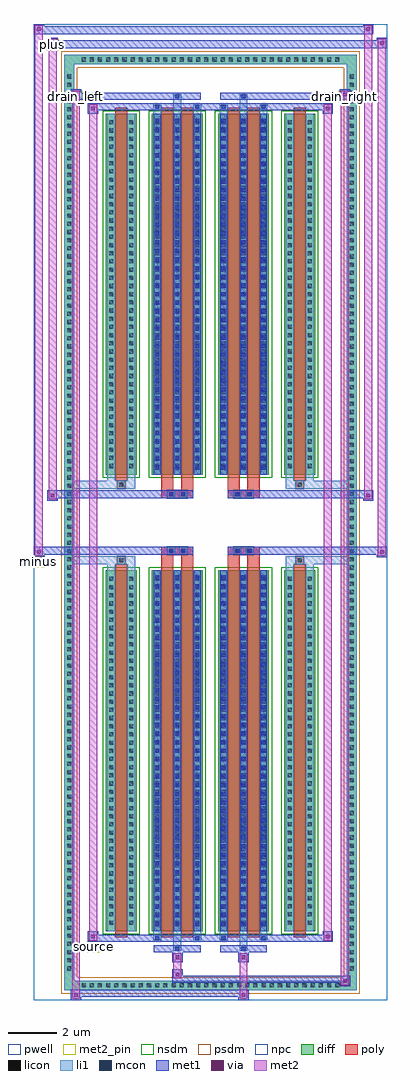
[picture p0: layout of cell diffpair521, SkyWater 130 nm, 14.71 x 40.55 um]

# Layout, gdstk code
import gdstk
lib = gdstk.Library(unit=1e-6, precision=5e-09)
def R(c, l, rs):  # rectangles x0, y0, x1, y1
    for r in rs: c.add(gdstk.rectangle(r[:2], r[2:], *l))
def A(c, l, x, y, w, h, nx, ny, dx, dy):  # array of equal rectangles
    R(c, l, [(x+i*dx, y+j*dy, x+i*dx+w, y+j*dy+h) for i in range(nx) for j in range(ny)])
def P(c, l, *ps):  # polygons
    for p in ps: c.add(gdstk.Polygon(p, *l))
pwell = (64, 44)
diff = (65, 20)
poly = (66, 20)
licon = (66, 44)
li1 = (67, 20)
mcon = (67, 44)
met1 = (68, 20)
via = (68, 44)
met2_pin = (69, 16)
met2 = (69, 20)
nsdm = (93, 44)
psdm = (94, 20)
npc = (95, 20)

diffpair521 = lib.new_cell('diffpair521')
R(diffpair521, pwell, [(-7.34,-19.84,7.34,20.71), (-4.66,-18.03,-0.01,-0.805), (0.01,-18.03,4.66,-0.805), (-4.66,0.805,-0.01,18.03), (0.01,0.805,4.66,18.03)])
A(diffpair521, diff, -5.475, -19.44, 0.41, 0.41, 32, 2, 0.34, 38.47)
A(diffpair521, diff, -6.07, -18.735, 0.41, 0.41, 1, 110, 0, 0.34)
A(diffpair521, diff, 5.66, -18.735, 0.41, 0.41, 1, 110, 0, 0.34)
R(diffpair521, diff, [(-5.475,-19.44,5.475,-19.03), (-6.07,-18.735,-5.66,18.735), (5.66,-18.735,6.07,18.735), (-4.35,-16.985,-3.07,-1.985), (-2.43,-16.985,-0.32,-1.985), (0.32,-16.985,2.43,-1.985), (3.07,-16.985,4.35,-1.985), (-4.35,1.985,-3.07,16.985), (-2.43,1.985,-0.32,16.985), (0.32,1.985,2.43,16.985), (3.07,1.985,4.35,16.985), (-5.475,19.03,5.475,19.44)])
P(diffpair521, diff, [(6.07,19.44),(-6.07,19.44),(-6.07,-19.03),(-5.66,-19.03),(-5.66,19.03),(5.66,19.03),(5.66,-19.03),(-5.66,-19.03),(-6.07,-19.03),(-6.07,-19.44),(6.07,-19.44)])
R(diffpair521, poly, [(-3.96,-17.235,-3.46,-1.735), (-2.04,-17.235,-1.54,-1.735), (-1.21,-17.235,-0.71,-1.735), (0.71,-17.235,1.21,-1.735), (1.54,-17.235,2.04,-1.735), (3.46,-17.235,3.96,-1.735), (-3.875,-1.735,-3.545,-1.405), (-3.875,-1.735,-3.545,-1.405), (-2.04,-1.735,-1.54,-1.335), (-1.21,-1.735,-0.71,-1.335), (0.71,-1.735,1.21,-1.335), (1.54,-1.735,2.04,-1.335), (3.545,-1.735,3.875,-1.405), (3.545,-1.735,3.875,-1.405), (-2.04,-1.335,-0.71,-1.005), (-1.79,-1.335,-1.46,-1.005), (-1.29,-1.335,-0.96,-1.005), (0.71,-1.335,2.04,-1.005), (0.96,-1.335,1.29,-1.005), (1.46,-1.335,1.79,-1.005), (-2.04,1.005,-0.71,1.335), (-1.79,1.005,-1.46,1.335), (-1.29,1.005,-0.96,1.335), (0.71,1.005,2.04,1.335), (0.96,1.005,1.29,1.335), (1.46,1.005,1.79,1.335), (-2.04,1.335,-1.54,1.735), (-1.21,1.335,-0.71,1.735), (0.71,1.335,1.21,1.735), (1.54,1.335,2.04,1.735), (-3.875,1.405,-3.545,1.735), (-3.875,1.405,-3.545,1.735), (3.545,1.405,3.875,1.735), (3.545,1.405,3.875,1.735), (-3.96,1.735,-3.46,17.235), (-2.04,1.735,-1.54,17.235), (-1.21,1.735,-0.71,17.235), (0.71,1.735,1.21,17.235), (1.54,1.735,2.04,17.235), (3.46,1.735,3.96,17.235)])
A(diffpair521, licon, -5.355, -19.32, 0.17, 0.17, 32, 2, 0.34, 38.47)
A(diffpair521, licon, -5.95, -18.615, 0.17, 0.17, 1, 110, 0, 0.34)
A(diffpair521, licon, 5.78, -18.615, 0.17, 0.17, 1, 110, 0, 0.34)
A(diffpair521, licon, -4.21, -16.71, 0.17, 0.17, 1, 43, 0, 0.34)
A(diffpair521, licon, -3.38, -16.71, 0.17, 0.17, 1, 43, 0, 0.34)
A(diffpair521, licon, -2.29, -16.71, 0.17, 0.17, 3, 43, 0.83, 0.34)
A(diffpair521, licon, 0.46, -16.71, 0.17, 0.17, 3, 43, 0.83, 0.34)
A(diffpair521, licon, 3.21, -16.71, 0.17, 0.17, 1, 43, 0, 0.34)
A(diffpair521, licon, 4.04, -16.71, 0.17, 0.17, 1, 43, 0, 0.34)
A(diffpair521, licon, -4.21, 2.26, 0.17, 0.17, 1, 43, 0, 0.34)
A(diffpair521, licon, -3.38, 2.26, 0.17, 0.17, 1, 43, 0, 0.34)
A(diffpair521, licon, -2.29, 2.26, 0.17, 0.17, 3, 43, 0.83, 0.34)
A(diffpair521, licon, 0.46, 2.26, 0.17, 0.17, 3, 43, 0.83, 0.34)
A(diffpair521, licon, 3.21, 2.26, 0.17, 0.17, 1, 43, 0, 0.34)
A(diffpair521, licon, 4.04, 2.26, 0.17, 0.17, 1, 43, 0, 0.34)
R(diffpair521, licon, [(-3.795,-1.655,-3.625,-1.485), (3.625,-1.655,3.795,-1.485), (-1.71,-1.255,-1.54,-1.085), (-1.21,-1.255,-1.04,-1.085), (1.04,-1.255,1.21,-1.085), (1.54,-1.255,1.71,-1.085), (-1.71,1.085,-1.54,1.255), (-1.21,1.085,-1.04,1.255), (1.04,1.085,1.21,1.255), (1.54,1.085,1.71,1.255), (-3.795,1.485,-3.625,1.655), (3.625,1.485,3.795,1.655)])
A(diffpair521, li1, -5.435, -19.4, 0.33, 0.33, 32, 2, 0.34, 38.47)
A(diffpair521, li1, -6.03, -18.695, 0.33, 0.33, 1, 110, 0, 0.34)
A(diffpair521, li1, 5.7, -18.695, 0.33, 0.33, 1, 110, 0, 0.34)
A(diffpair521, li1, -2.37, -16.985, 0.33, 15, 3, 2, 0.83, 18.97)
A(diffpair521, li1, 0.38, -16.985, 0.33, 15, 3, 2, 0.83, 18.97)
A(diffpair521, li1, -4.29, -16.79, 0.33, 0.33, 1, 43, 0, 0.34)
A(diffpair521, li1, -3.46, -16.79, 0.33, 0.33, 1, 43, 0, 0.34)
A(diffpair521, li1, -2.37, -16.79, 0.33, 0.33, 3, 43, 0.83, 0.34)
A(diffpair521, li1, 0.38, -16.79, 0.33, 0.33, 3, 43, 0.83, 0.34)
A(diffpair521, li1, 3.13, -16.79, 0.33, 0.33, 1, 43, 0, 0.34)
A(diffpair521, li1, 3.96, -16.79, 0.33, 0.33, 1, 43, 0, 0.34)
A(diffpair521, li1, -2.29, -16.77, 0.17, 0.17, 3, 41, 0.83, 0.36)
A(diffpair521, li1, -2.29, -16.77, 0.17, 14.57, 3, 2, 0.83, 18.97)
A(diffpair521, li1, 0.46, -16.77, 0.17, 0.17, 3, 41, 0.83, 0.36)
A(diffpair521, li1, 0.46, -16.77, 0.17, 14.57, 3, 2, 0.83, 18.97)
A(diffpair521, li1, -4.29, 2.18, 0.33, 0.33, 1, 43, 0, 0.34)
A(diffpair521, li1, -3.46, 2.18, 0.33, 0.33, 1, 43, 0, 0.34)
A(diffpair521, li1, -2.37, 2.18, 0.33, 0.33, 3, 43, 0.83, 0.34)
A(diffpair521, li1, 0.38, 2.18, 0.33, 0.33, 3, 43, 0.83, 0.34)
A(diffpair521, li1, 3.13, 2.18, 0.33, 0.33, 1, 43, 0, 0.34)
A(diffpair521, li1, 3.96, 2.18, 0.33, 0.33, 1, 43, 0, 0.34)
A(diffpair521, li1, -2.29, 2.2, 0.17, 0.17, 3, 41, 0.83, 0.36)
A(diffpair521, li1, 0.46, 2.2, 0.17, 0.17, 3, 41, 0.83, 0.36)
R(diffpair521, li1, [(-6.07,-19.44,-5.66,-19.03), (-6.07,-19.44,-5.66,-19.03), (-5.66,-19.44,5.66,-19.03), (5.66,-19.44,6.07,-19.03), (5.66,-19.44,6.07,-19.03), (-6.07,-19.03,-5.66,19.03), (5.66,-19.03,6.07,19.03), (-1.54,-17.79,-1.21,-16.985), (-1.46,-17.79,-1.29,-17.62), (1.21,-17.79,1.54,-16.985), (1.29,-17.79,1.46,-17.62), (-2.37,-17.36,-2.04,-16.985), (-2.29,-17.36,-2.12,-17.19), (-0.71,-17.36,-0.38,-16.985), (-0.63,-17.36,-0.46,-17.19), (0.38,-17.36,0.71,-16.985), (0.46,-17.36,0.63,-17.19), (2.04,-17.36,2.37,-16.985), (2.12,-17.36,2.29,-17.19), (-4.29,-16.985,-3.96,-1.985), (-3.46,-16.985,-3.13,-1.985), (3.13,-16.985,3.46,-1.985), (3.96,-16.985,4.29,-1.985), (-4.29,-1.985,-3.96,-1.405), (-3.46,-1.985,-3.13,-1.405), (3.13,-1.985,3.46,-1.405), (3.96,-1.985,4.29,-1.405), (-6.07,-1.735,-3.875,-1.405), (-4.29,-1.735,-3.875,-1.405), (-3.875,-1.735,-3.545,-1.405), (-3.545,-1.735,-3.13,-1.405), (3.13,-1.735,3.545,-1.405), (3.545,-1.735,3.875,-1.405), (3.545,-1.735,6.07,-1.405), (3.875,-1.735,4.29,-1.405), (-1.79,-1.335,-1.46,-1.005), (-1.29,-1.335,-0.96,-1.005), (0.96,-1.335,1.29,-1.005), (1.46,-1.335,1.79,-1.005), (-1.79,1.005,-1.46,1.335), (-1.29,1.005,-0.96,1.335), (0.96,1.005,1.29,1.335), (1.46,1.005,1.79,1.335), (-6.07,1.405,-3.875,1.735), (-4.29,1.405,-3.875,1.735), (-4.29,1.405,-3.96,1.985), (-3.875,1.405,-3.545,1.735), (-3.545,1.405,-3.13,1.735), (-3.46,1.405,-3.13,1.985), (3.13,1.405,3.545,1.735), (3.13,1.405,3.46,1.985), (3.545,1.405,3.875,1.735), (3.545,1.405,6.07,1.735), (3.875,1.405,4.29,1.735), (3.96,1.405,4.29,1.985), (-4.29,1.985,-3.96,16.985), (-3.46,1.985,-3.13,16.985), (3.13,1.985,3.46,16.985), (3.96,1.985,4.29,16.985), (-2.37,16.985,-2.04,17.36), (-1.54,16.985,-1.21,17.79), (-0.71,16.985,-0.38,17.36), (0.38,16.985,0.71,17.36), (1.21,16.985,1.54,17.79), (2.04,16.985,2.37,17.36), (-2.29,17.19,-2.12,17.36), (-0.63,17.19,-0.46,17.36), (0.46,17.19,0.63,17.36), (2.12,17.19,2.29,17.36), (-1.46,17.62,-1.29,17.79), (1.29,17.62,1.46,17.79), (-6.07,19.03,-5.66,19.44), (-6.07,19.03,-5.66,19.44), (-5.66,19.03,5.66,19.44), (5.66,19.03,6.07,19.44), (5.66,19.03,6.07,19.44)])
A(diffpair521, mcon, -2.29, -16.77, 0.17, 0.17, 3, 41, 0.83, 0.36)
A(diffpair521, mcon, 0.46, -16.77, 0.17, 0.17, 3, 41, 0.83, 0.36)
A(diffpair521, mcon, -2.29, 2.2, 0.17, 0.17, 3, 41, 0.83, 0.36)
A(diffpair521, mcon, 0.46, 2.2, 0.17, 0.17, 3, 41, 0.83, 0.36)
R(diffpair521, mcon, [(-1.46,-17.79,-1.29,-17.62), (1.29,-17.79,1.46,-17.62), (-2.29,-17.36,-2.12,-17.19), (-0.63,-17.36,-0.46,-17.19), (0.46,-17.36,0.63,-17.19), (2.12,-17.36,2.29,-17.19), (-1.71,-1.255,-1.54,-1.085), (-1.21,-1.255,-1.04,-1.085), (1.04,-1.255,1.21,-1.085), (1.54,-1.255,1.71,-1.085), (-1.71,1.085,-1.54,1.255), (-1.21,1.085,-1.04,1.255), (1.04,1.085,1.21,1.255), (1.54,1.085,1.71,1.255), (-2.29,17.19,-2.12,17.36), (-0.63,17.19,-0.46,17.36), (0.46,17.19,0.63,17.36), (2.12,17.19,2.29,17.36), (-1.46,17.62,-1.29,17.79), (1.29,17.62,1.46,17.79)])
A(diffpair521, met1, -2.35, -16.985, 0.29, 15, 3, 2, 0.83, 18.97)
A(diffpair521, met1, 0.4, -16.985, 0.29, 15, 3, 2, 0.83, 18.97)
A(diffpair521, met1, -2.35, -16.83, 0.29, 0.29, 3, 41, 0.83, 0.36)
A(diffpair521, met1, 0.4, -16.83, 0.29, 0.29, 3, 41, 0.83, 0.36)
A(diffpair521, met1, -2.35, 2.14, 0.29, 0.29, 3, 41, 0.83, 0.36)
A(diffpair521, met1, 0.4, 2.14, 0.29, 0.29, 3, 41, 0.83, 0.36)
R(diffpair521, met1, [(-5.8,-19.84,-5.37,-19.41), (1.16,-19.84,1.59,-19.41), (-5.8,-19.7,1.59,-19.41), (5.37,-19.27,5.8,-18.84), (-1.59,-19.13,5.8,-18.84), (-1.59,-18.99,-1.16,-18.56), (-1.59,-18.28,-1.16,-17.85), (1.16,-18.28,1.59,-17.85), (-2.35,-17.85,-0.4,-17.56), (-1.52,-17.85,-1.23,-17.56), (0.4,-17.85,2.35,-17.56), (1.23,-17.85,1.52,-17.56), (-5.09,-17.42,-4.66,-16.99), (-5.09,-17.42,-2.35,-17.13), (-2.35,-17.42,-2.06,-17.13), (-2.35,-17.42,-0.4,-17.13), (-0.69,-17.42,-0.4,-17.13), (-0.4,-17.42,0.4,-17.13), (0.4,-17.42,0.69,-17.13), (0.4,-17.42,2.35,-17.13), (2.06,-17.42,2.35,-17.13), (2.35,-17.42,5.09,-17.13), (4.66,-17.42,5.09,-16.99), (-7.34,-1.435,-6.91,-1.005), (6.91,-1.435,7.34,-1.005), (-7.34,-1.335,-0.71,-1.005), (-2.04,-1.335,-0.71,-1.005), (0.71,-1.335,2.04,-1.005), (0.71,-1.335,7.34,-1.005), (-1.77,-1.315,-1.48,-1.025), (-1.27,-1.315,-0.98,-1.025), (0.98,-1.315,1.27,-1.025), (1.48,-1.315,1.77,-1.025), (-6.77,0.905,-6.34,1.335), (6.34,0.905,6.77,1.335), (-6.77,1.005,-2.04,1.335), (-2.04,1.005,-0.71,1.335), (0.71,1.005,2.04,1.335), (2.04,1.005,6.77,1.335), (-1.77,1.025,-1.48,1.315), (-1.27,1.025,-0.98,1.315), (0.98,1.025,1.27,1.315), (1.48,1.025,1.77,1.315), (-5.09,16.99,-4.66,17.42), (4.66,16.99,5.09,17.42), (-5.09,17.13,-2.35,17.42), (-2.35,17.13,-2.06,17.42), (-2.35,17.13,-0.4,17.42), (-0.69,17.13,-0.4,17.42), (-0.4,17.13,0.4,17.42), (0.4,17.13,0.69,17.42), (0.4,17.13,2.35,17.42), (2.06,17.13,2.35,17.42), (2.35,17.13,5.09,17.42), (-5.8,17.56,-5.37,17.99), (-5.8,17.56,-2.35,17.85), (-2.35,17.56,-0.4,17.85), (-1.52,17.56,-1.23,17.85), (0.4,17.56,2.35,17.85), (1.23,17.56,1.52,17.85), (2.35,17.56,5.8,17.85), (5.37,17.56,5.8,17.99), (-6.77,19.71,-6.34,20.14), (-6.77,19.71,-4.66,20.04), (-4.66,19.71,4.66,20.04), (4.66,19.71,7.34,20.04), (6.91,19.71,7.34,20.14), (-7.34,20.28,-6.91,20.71), (-7.34,20.28,-4.66,20.61), (-4.66,20.28,4.66,20.61), (4.66,20.28,6.77,20.61), (6.34,20.28,6.77,20.71)])
R(diffpair521, via, [(-5.66,-19.7,-5.51,-19.55), (1.3,-19.7,1.45,-19.55), (5.51,-19.13,5.66,-18.98), (-1.45,-18.85,-1.3,-18.7), (-1.45,-18.14,-1.3,-17.99), (1.3,-18.14,1.45,-17.99), (-4.95,-17.28,-4.8,-17.13), (4.8,-17.28,4.95,-17.13), (-7.2,-1.295,-7.05,-1.145), (7.05,-1.295,7.2,-1.145), (-6.63,1.045,-6.48,1.195), (6.48,1.045,6.63,1.195), (-4.95,17.13,-4.8,17.28), (4.8,17.13,4.95,17.28), (-5.66,17.7,-5.51,17.85), (5.51,17.7,5.66,17.85), (-6.63,19.85,-6.48,20), (7.05,19.85,7.2,20), (-7.2,20.42,-7.05,20.57), (6.48,20.42,6.63,20.57)])
R(diffpair521, met2_pin, [(-5.125,-17.87,-4.625,-17.37), (-7.375,-1.885,-6.875,-1.385), (-5.835,17.44,-5.335,17.94), (5.335,17.44,5.835,17.94), (-6.805,19.59,-6.305,20.09)])
R(diffpair521, met2, [(-5.75,-19.79,-5.42,-19.46), (-5.75,-19.79,-5.42,17.94), (1.21,-19.79,1.54,-19.46), (1.21,-19.46,1.54,-18.23), (5.42,-19.22,5.75,-18.89), (5.42,-19.22,5.75,17.94), (-1.54,-18.94,-1.21,-18.61), (-1.54,-18.61,-1.21,-18.23), (-1.54,-18.23,-1.21,-17.9), (1.21,-18.23,1.54,-17.9), (-5.04,-17.37,-4.71,-17.04), (-5.04,-17.37,-4.71,17.37), (4.71,-17.37,5.04,-17.04), (4.71,-17.37,5.04,17.37), (-7.29,-1.385,-6.96,-1.055), (-7.29,-1.385,-6.96,20.66), (6.96,-1.385,7.29,-1.055), (6.96,-1.385,7.29,20.09), (-6.72,0.955,-6.39,1.285), (-6.72,0.955,-6.39,20.09), (6.39,0.955,6.72,1.285), (6.39,0.955,6.72,20.66), (-5.04,17.04,-4.71,17.37), (4.71,17.04,5.04,17.37), (-5.75,17.61,-5.42,17.94), (5.42,17.61,5.75,17.94), (-6.72,19.76,-6.39,20.09), (6.96,19.76,7.29,20.09), (-7.29,20.33,-6.96,20.66), (6.39,20.33,6.72,20.66)])
P(diffpair521, met2, [(7.29,-1.385),(7.29,-1.385),(7.29,-1.055),(7.29,-1.055)],
  [(7.29,19.76),(7.29,19.76),(7.29,20.09),(7.29,20.09)],
  [(-6.96,-1.385),(-6.96,-1.385),(-6.96,-1.055),(-6.96,-1.055)],
  [(-6.96,20.33),(-6.96,20.33),(-6.96,20.66),(-6.96,20.66)],
  [(6.72,0.955),(6.72,0.955),(6.72,1.285),(6.72,1.285)],
  [(6.72,20.33),(6.72,20.33),(6.72,20.66),(6.72,20.66)],
  [(-6.39,0.955),(-6.39,0.955),(-6.39,1.285),(-6.39,1.285)],
  [(-6.39,19.76),(-6.39,19.76),(-6.39,20.09),(-6.39,20.09)],
  [(-5.42,-19.79),(-5.42,-19.79),(-5.42,-19.46),(-5.42,-19.46)],
  [(-5.42,17.61),(-5.42,17.61),(-5.42,17.94),(-5.42,17.94)],
  [(5.75,-19.22),(5.75,-19.22),(5.75,-18.89),(5.75,-18.89)],
  [(5.75,17.61),(5.75,17.61),(5.75,17.94),(5.75,17.94)],
  [(-4.71,-17.37),(-4.71,-17.37),(-4.71,-17.04),(-4.71,-17.04)],
  [(-4.71,17.04),(-4.71,17.04),(-4.71,17.37),(-4.71,17.37)],
  [(5.04,-17.37),(5.04,-17.37),(5.04,-17.04),(5.04,-17.04)],
  [(5.04,17.04),(5.04,17.04),(5.04,17.37),(5.04,17.37)])
R(diffpair521, nsdm, [(-4.48,-17.115,-2.94,-1.855), (-2.56,-17.115,-0.19,-1.855), (0.19,-17.115,2.56,-1.855), (2.94,-17.115,4.48,-1.855), (-4.48,1.855,-2.94,17.115), (-2.56,1.855,-0.19,17.115), (0.19,1.855,2.56,17.115), (2.94,1.855,4.48,17.115)])
P(diffpair521, psdm, [(6.2,19.57),(-6.2,19.57),(-6.2,-18.9),(-5.53,-18.9),(-5.53,18.9),(5.53,18.9),(5.53,-18.9),(-5.53,-18.9),(-6.2,-18.9),(-6.2,-19.57),(6.2,-19.57)])
R(diffpair521, npc, [(-3.895,-1.755,-3.525,-1.385), (3.525,-1.755,3.895,-1.385), (-1.81,-1.355,-1.44,-0.985), (-1.81,-1.355,-0.94,-0.985), (-1.81,-1.355,-0.94,-0.985), (-1.31,-1.355,-0.94,-0.985), (0.94,-1.355,1.31,-0.985), (0.94,-1.355,1.81,-0.985), (0.94,-1.355,1.81,-0.985), (1.44,-1.355,1.81,-0.985), (-1.81,0.985,-1.44,1.355), (-1.81,0.985,-0.94,1.355), (-1.81,0.985,-0.94,1.355), (-1.31,0.985,-0.94,1.355), (0.94,0.985,1.31,1.355), (0.94,0.985,1.81,1.355), (0.94,0.985,1.81,1.355), (1.44,0.985,1.81,1.355), (-3.895,1.385,-3.525,1.755), (3.525,1.385,3.895,1.755)])
diffpair521.add(gdstk.Label('minus', (-7.125,-1.635), layer=69, texttype=5))
diffpair521.add(gdstk.Label('drain_right', (5.585,17.69), layer=69, texttype=5))
diffpair521.add(gdstk.Label('drain_left', (-5.585,17.69), layer=69, texttype=5))
diffpair521.add(gdstk.Label('source', (-4.875,-17.62), layer=69, texttype=5))
diffpair521.add(gdstk.Label('plus', (-6.555,19.84), layer=69, texttype=5))

lib.write_gds('diffpair521.gds')
